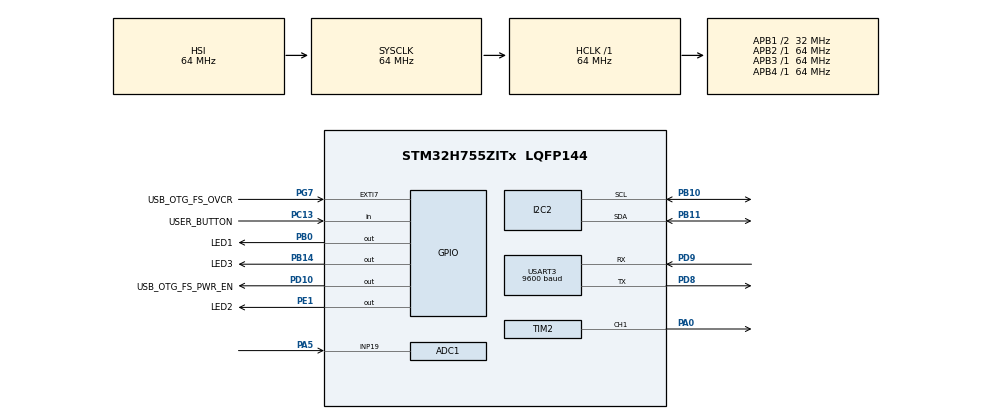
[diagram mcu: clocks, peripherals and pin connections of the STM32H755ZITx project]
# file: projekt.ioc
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ADC1.Channel-1\#ChannelRegularConversion=ADC_CHANNEL_19
ADC1.NbrOfConversionFlag=1
ADC1.OffsetNumber-1\#ChannelRegularConversion=ADC_OFFSET_NONE
ADC1.OffsetSignedSaturation-1\#ChannelRegularConversion=DISABLE
ADC1.Rank-1\#ChannelRegularConversion=1
ADC1.SamplingTime-1\#ChannelRegularConversion=ADC_SAMPLETIME_1CYCLE_5
ADC1.master=1
CortexM4.IPs=FATFS_M4\:I,FREERTOS_M4\:I,IWDG2\:I,RCC,WWDG2\:I,DMA,BDMA,MDMA,NVIC2\:I,ETH,USART3,DEBUG,PDM2PCM_M4\:I,PWR,RESMGR_UTILITY,SYS_M4\:I,USB_DEVICE_M4\:I,USB_HOST_M4\:I,CORTEX_M4\:I,GPIO,OPENAMP_M4\:I,VREFBUF,NUCLEO-H755ZI-Q
CortexM7.IPs=FATFS_M7\:I,FREERTOS_M7\:I,IWDG1\:I,RCC\:I,WWDG1\:I,DMA\:I,BDMA\:I,MDMA\:I,NVIC1\:I,ETH\:I,USART3\:I,USB_OTG_FS\:I,SYS\:I,CORTEX_M7\:I,DEBUG\:I,PDM2PCM_M7\:I,PWR\:I,RESMGR_UTILITY\:I,USB_DEVICE_M7\:I,USB_HOST_M7\:I,GPIO\:I,OPENAMP_M7\:I,VREFBUF\:I,NUCLEO-H755ZI-Q\:I,TIM2\:I,I2C2\:I,ADC1\:I
CortexM7.Pins=PC13,PB0,PB14,PE1
Dma.ADC1.0.Direction=DMA_PERIPH_TO_MEMORY
Dma.ADC1.0.EventEnable=DISABLE
Dma.ADC1.0.FIFOMode=DMA_FIFOMODE_DISABLE
Dma.ADC1.0.Instance=DMA1_Stream0
Dma.ADC1.0.MemDataAlignment=DMA_MDATAALIGN_HALFWORD
Dma.ADC1.0.MemInc=DMA_MINC_ENABLE
Dma.ADC1.0.Mode=DMA_CIRCULAR
Dma.ADC1.0.PeriphDataAlignment=DMA_PDATAALIGN_HALFWORD
Dma.ADC1.0.PeriphInc=DMA_PINC_DISABLE
Dma.ADC1.0.Polarity=HAL_DMAMUX_REQ_GEN_RISING
Dma.ADC1.0.Priority=DMA_PRIORITY_LOW
Dma.ADC1.0.RequestNumber=1
Dma.ADC1.0.SignalID=NONE
Dma.ADC1.0.SyncEnable=DISABLE
Dma.ADC1.0.SyncPolarity=HAL_DMAMUX_SYNC_NO_EVENT
Dma.ADC1.0.SyncRequestNumber=1
Dma.ADC1.0.SyncSignalID=NONE
Dma.Request0=ADC1
I2C2.Timing=0x00707CBB
Mcu.Family=STM32H7
Mcu.Name=STM32H755ZITx
Mcu.Package=LQFP144
NVIC1.DMA1_Stream0_IRQn=true\:0\:0\:false\:false\:true\:false\:true\:true
NVIC1.PriorityGroup=NVIC_PRIORITYGROUP_4
NVIC1.USART3_IRQn=true\:0\:0\:false\:false\:true\:true\:true\:true
NVIC2.PriorityGroup=NVIC_PRIORITYGROUP_4
PA0.PinAttribute=CortexM7
PA0.Signal=S_TIM2_CH1_ETR
PA1.PinAttribute=CortexM7
PA1.Signal=ETH_REF_CLK
PA11.PinAttribute=CortexM7
PA11.Signal=USB_OTG_FS_DM
PA12.PinAttribute=CortexM7
PA12.Signal=USB_OTG_FS_DP
PA2.PinAttribute=CortexM7
PA2.Signal=ETH_MDIO
PA5.PinAttribute=CortexM7
PA5.Signal=ADCx_INP19
PA7.PinAttribute=CortexM7
PA7.Signal=ETH_CRS_DV
PA8.PinAttribute=CortexM7
PA8.Signal=USB_OTG_FS_SOF
PA9.PinAttribute=CortexM7
PA9.Signal=USB_OTG_FS_VBUS
PB0.GPIO_Label=LED1
PB0.PinAttribute=CortexM7
PB0.Signal=GPIO_Output
PB10.Mode=I2C
PB10.PinAttribute=CortexM7
PB10.Signal=I2C2_SCL
PB11.Mode=I2C
PB11.PinAttribute=CortexM7
PB11.Signal=I2C2_SDA
PB13.PinAttribute=CortexM7
PB13.Signal=ETH_TXD1
PB14.GPIO_Label=LED3
PB14.PinAttribute=CortexM7
PB14.Signal=GPIO_Output
PC1.PinAttribute=CortexM7
PC1.Signal=ETH_MDC
PC13.GPIO_Label=USER_BUTTON
PC13.PinAttribute=CortexM7
PC13.Signal=GPIO_Input
PC14-OSC32_IN\ (OSC32_IN).PinAttribute=Free
PC14-OSC32_IN\ (OSC32_IN).Signal=RCC_OSC32_IN
PC15-OSC32_OUT\ (OSC32_OUT).PinAttribute=Free
PC15-OSC32_OUT\ (OSC32_OUT).Signal=RCC_OSC32_OUT
PC4.PinAttribute=CortexM7
PC4.Signal=ETH_RXD0
PC5.PinAttribute=CortexM7
PC5.Signal=ETH_RXD1
PD10.GPIO_Label=USB_OTG_FS_PWR_EN
PD10.PinAttribute=Free
PD10.Signal=GPIO_Output
PD8.Mode=Asynchronous
PD8.PinAttribute=CortexM7
PD8.Signal=USART3_TX
PD9.Mode=Asynchronous
PD9.PinAttribute=CortexM7
PD9.Signal=USART3_RX
PE1.GPIO_Label=LED2
PE1.PinAttribute=CortexM7
PE1.Signal=GPIO_Output
PG11.PinAttribute=CortexM7
PG11.Signal=ETH_TX_EN
PG13.PinAttribute=CortexM7
PG13.Signal=ETH_TXD0
PG7.GPIO_Label=USB_OTG_FS_OVCR
PG7.PinAttribute=Free
PG7.Signal=GPXTI7
PH0-OSC_IN\ (PH0).PinAttribute=Free
PH0-OSC_IN\ (PH0).Signal=RCC_OSC_IN
PH1-OSC_OUT\ (PH1).PinAttribute=Free
PH1-OSC_OUT\ (PH1).Signal=RCC_OSC_OUT
ProjectManager.HeapSize=M4-0x200,M7-0x200
ProjectManager.StackSize=M4-0x400,M7-0x400
ProjectManager.TargetToolchain=STM32CubeIDE
RCC.ADCFreq_Value=80000000
RCC.APB1Freq_Value=32000000
RCC.APB2Freq_Value=64000000
RCC.APB3Freq_Value=64000000
RCC.APB4Freq_Value=64000000
RCC.CortexFreq_Value=64000000
RCC.D2PPRE1=RCC_APB1_DIV2
RCC.DIVM1=5
RCC.DIVM2=4
RCC.DIVN1=48
RCC.DIVN2=10
RCC.DIVQ1=5
RCC.HCLKFreq_Value=64000000
RCC.PLL2FRACN=0
RCC.PLL3FRACN=0
RCC.PLLFRACN=0
RCC.SYSCLKFreq_VALUE=64000000
RCC.SupplySource=PWR_DIRECT_SMPS_SUPPLY
RCC.USBFreq_Value=122880000
SH.ADCx_INP19.0=ADC1_INP19,IN19-Single-Ended
SH.S_TIM2_CH1_ETR.0=TIM2_CH1,PWM Generation1 CH1
TIM2.Channel-PWM\ Generation1\ CH1=TIM_CHANNEL_1
TIM2.Period=19999
TIM2.Prescaler=63
USART3.BaudRate=9600
USART3.VirtualMode-Asynchronous=VM_ASYNC
VP_SYS_M4_VS_Systick.Mode=SysTick
VP_TIM2_VS_ClockSourceINT.Mode=Internal
board=NUCLEO-H755ZI-Q

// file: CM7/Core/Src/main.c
/* USER CODE BEGIN Header */
/**
  ******************************************************************************
  * @file           : main.c
  * @brief          : Main program body
  ******************************************************************************
  * @attention
  *
  * Copyright (c) 2024 STMicroelectronics.
  * All rights reserved.
  *
  * This software is licensed under terms that can be found in the LICENSE file
  * in the root directory of this software component.
  * If no LICENSE file comes with this software, it is provided AS-IS.
  *
  ******************************************************************************
  */
/* USER CODE END Header */
#include "main.h"
#include "adc.h"
#include "dma.h"
#include "i2c.h"
#include "tim.h"
#include "usart.h"
#include "gpio.h"

/* USER CODE BEGIN Includes */
#include "lcd_i2c.h"
#include <stdbool.h>
#include <stdio.h>
/* USER CODE END Includes */

/* USER CODE BEGIN PD */

#ifndef HSEM_ID_0
#define HSEM_ID_0 (0U) /* HW semaphore 0*/
#endif

/* USER CODE END PD */

/* USER CODE BEGIN PV */
uint8_t rx_data[3];
#define SERVO_NEUTRAL 75  // 1.5 ms - zatrzymanie
#define SERVO_CW      50  // 1.3 ms - obrót zgodnie z ruchem wskazówek zegara
#define SERVO_CCW     100  // 1.7 ms - obrót przeciwnie do ruchu wskazówek zegara
#define DEG_PER_SEC   810   // Prędkość obrotu serwa w stopniach na sekundę
struct lcd_disp disp;
/* USER CODE END PV */

void SystemClock_Config(void);

/* USER CODE BEGIN 0 */

void SendDebugMessage(const char* message) {
    HAL_UART_Transmit(&huart3, (uint8_t*)message, strlen(message), HAL_MAX_DELAY);
}

void SendDebugInt(int value) {
    char buffer[20];
    snprintf(buffer, sizeof(buffer), "%d", value);
    SendDebugMessage(buffer);
}

void SendDebugFloat(float value) {
    char buffer[20];
    snprintf(buffer, sizeof(buffer), "%.2f", value);
    SendDebugMessage(buffer);
}

void HAL_UART_RxCpltCallback(UART_HandleTypeDef *huart)
{
	SendDebugMessage(rx_data);
	int rx_data_int = 100*(rx_data[0]-'0') + 10*(rx_data[1]-'0') + (rx_data[2]-'0');
	__HAL_TIM_SET_COMPARE(&htim2, TIM_CHANNEL_1, rx_data_int);

	HAL_UART_Receive_IT(&huart3, &rx_data, 3);
}

void Servo_SetAngle(uint8_t angle) {
    angle = angle>180 ? 180 : angle;
    angle = angle<0 ? 0 : angle;
    uint32_t pulse_length = 500 + (angle * 2000 / 180);
	uint32_t ccr_value = (pulse_length * (htim2.Init.Period + 1)) / 20000;
	__HAL_TIM_SET_COMPARE(&htim2, TIM_CHANNEL_1, ccr_value);
}

/* USER CODE END 0 */

int main(void)
{

/* USER CODE BEGIN Boot_Mode_Sequence_0 */
  int32_t timeout;
/* USER CODE END Boot_Mode_Sequence_0 */

/* USER CODE BEGIN Boot_Mode_Sequence_1 */
  /* Wait until CPU2 boots and enters in stop mode or timeout*/
  timeout = 0xFFFF;
  while((__HAL_RCC_GET_FLAG(RCC_FLAG_D2CKRDY) != RESET) && (timeout-- > 0));
  if ( timeout < 0 )
  {
  Error_Handler();
  }
/* USER CODE END Boot_Mode_Sequence_1 */
  /* MCU Configuration--------------------------------------------------------*/

  /* Reset of all peripherals, Initializes the Flash interface and the Systick. */
  HAL_Init();

  /* Configure the system clock */
  SystemClock_Config();
/* USER CODE BEGIN Boot_Mode_Sequence_2 */
/* When system initialization is finished, Cortex-M7 will release Cortex-M4 by means of
HSEM notification */
/*HW semaphore Clock enable*/
__HAL_RCC_HSEM_CLK_ENABLE();
/*Take HSEM */
HAL_HSEM_FastTake(HSEM_ID_0);
/*Release HSEM in order to notify the CPU2(CM4)*/
HAL_HSEM_Release(HSEM_ID_0,0);
/* wait until CPU2 wakes up from stop mode */
timeout = 0xFFFF;
while((__HAL_RCC_GET_FLAG(RCC_FLAG_D2CKRDY) == RESET) && (timeout-- > 0));
if ( timeout < 0 )
{
Error_Handler();
}
/* USER CODE END Boot_Mode_Sequence_2 */

  /* Initialize all configured peripherals */
  MX_GPIO_Init();
  MX_DMA_Init();
  MX_TIM2_Init();
  MX_USART3_UART_Init();
  MX_I2C2_Init();
  MX_ADC1_Init();
  /* USER CODE BEGIN 2 */
	disp.addr = (0x27 << 1);
	disp.bl = true;
	lcd_init(&disp);
  /* USER CODE END 2 */

  /* Infinite loop */
  /* USER CODE BEGIN WHILE */
  TIM2->CCR1 = 100;
  HAL_TIM_PWM_Start_IT(&htim2, TIM_CHANNEL_1);
  HAL_UART_Receive_IT(&huart3, &rx_data, 3);

  while (1)
  {

	HAL_ADC_Start(&hadc1);
	HAL_ADC_PollForConversion(&hadc1,20);
	uint16_t v = HAL_ADC_GetValue(&hadc1);

	float voltage = 3.3 * v / 65535;
	float resistance = (( voltage)/(3.3 - voltage) * 4700);
	float lux = (10 * pow(8000, 1/0.6)) / pow(resistance, 1/0.6);

	sprintf((char *)disp.f_line, "%.2f", lux);
	sprintf((char *)disp.s_line, "uwu");
	lcd_display(&disp);

	float angle = lux<10 ? lux * 3 : (lux<40 ? fmax(lux * 1.5, 10) : (lux <=150 ? fmax(lux,40) : 180));
	Servo_SetAngle(angle);
	HAL_Delay(500);
    /* USER CODE END WHILE */

  }
}

void SystemClock_Config(void)
{
  RCC_OscInitTypeDef RCC_OscInitStruct = {0};
  RCC_ClkInitTypeDef RCC_ClkInitStruct = {0};

  /** Supply configuration update enable
  */
  HAL_PWREx_ConfigSupply(PWR_DIRECT_SMPS_SUPPLY);

  /** Configure the main internal regulator output voltage
  */
  __HAL_PWR_VOLTAGESCALING_CONFIG(PWR_REGULATOR_VOLTAGE_SCALE3);

  while(!__HAL_PWR_GET_FLAG(PWR_FLAG_VOSRDY)) {}

  /** Macro to configure the PLL clock source
  */
  __HAL_RCC_PLL_PLLSOURCE_CONFIG(RCC_PLLSOURCE_HSI);

  /** Initializes the RCC Oscillators according to the specified parameters
  * in the RCC_OscInitTypeDef structure.
  */
  RCC_OscInitStruct.OscillatorType = RCC_OSCILLATORTYPE_HSI;
  RCC_OscInitStruct.HSIState = RCC_HSI_DIV1;
  RCC_OscInitStruct.HSICalibrationValue = RCC_HSICALIBRATION_DEFAULT;
  RCC_OscInitStruct.PLL.PLLState = RCC_PLL_NONE;
  if (HAL_RCC_OscConfig(&RCC_OscInitStruct) != HAL_OK)
  {
    Error_Handler();
  }

  /** Initializes the CPU, AHB and APB buses clocks
  */
  RCC_ClkInitStruct.ClockType = RCC_CLOCKTYPE_HCLK|RCC_CLOCKTYPE_SYSCLK
                              |RCC_CLOCKTYPE_PCLK1|RCC_CLOCKTYPE_PCLK2
                              |RCC_CLOCKTYPE_D3PCLK1|RCC_CLOCKTYPE_D1PCLK1;
  RCC_ClkInitStruct.SYSCLKSource = RCC_SYSCLKSOURCE_HSI;
  RCC_ClkInitStruct.SYSCLKDivider = RCC_SYSCLK_DIV1;
  RCC_ClkInitStruct.AHBCLKDivider = RCC_HCLK_DIV1;
  RCC_ClkInitStruct.APB3CLKDivider = RCC_APB3_DIV1;
  RCC_ClkInitStruct.APB1CLKDivider = RCC_APB1_DIV2;
  RCC_ClkInitStruct.APB2CLKDivider = RCC_APB2_DIV1;
  RCC_ClkInitStruct.APB4CLKDivider = RCC_APB4_DIV1;

  if (HAL_RCC_ClockConfig(&RCC_ClkInitStruct, FLASH_LATENCY_1) != HAL_OK)
  {
    Error_Handler();
  }
}

void Error_Handler(void)
{
  __disable_irq();
  while (1)
  {
  }
}
